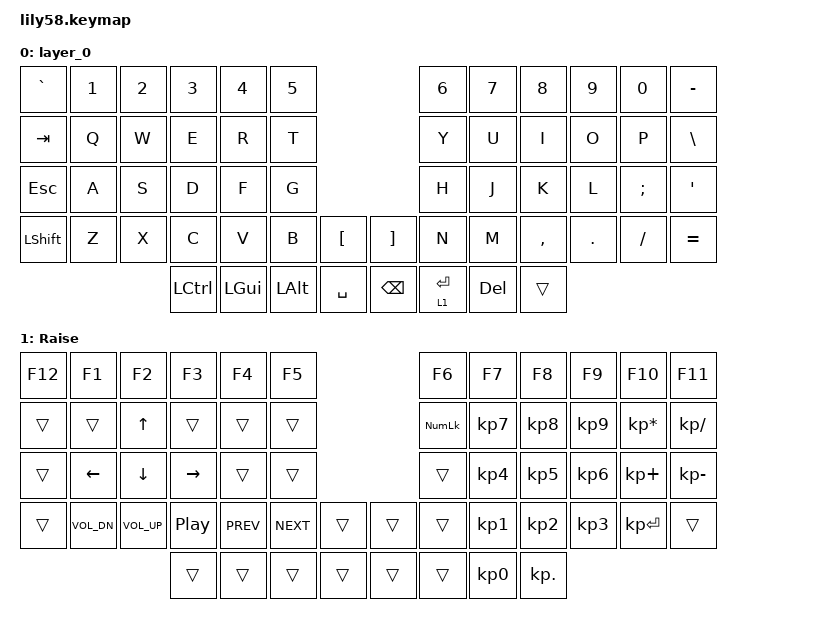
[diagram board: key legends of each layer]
#include <behaviors.dtsi>
#include <dt-bindings/zmk/keys.h>

/ {
    keymap {
        compatible = "zmk,keymap";

        layer_0 {
            bindings = <
&kp GRAVE  &kp N1  &kp N2  &kp N3     &kp N4    &kp N5                                           &kp N6        &kp N7      &kp N8     &kp N9   &kp N0    &kp MINUS
&kp TAB    &kp Q   &kp W   &kp E      &kp R     &kp T                                            &kp Y         &kp U       &kp I      &kp O    &kp P     &kp BSLH
&kp ESC    &kp A   &kp S   &kp D      &kp F     &kp G                                            &kp H         &kp J       &kp K      &kp L    &kp SEMI  &kp SQT
&kp LSHFT  &kp Z   &kp X   &kp C      &kp V     &kp B     &kp LEFT_BRACKET    &kp RIGHT_BRACKET  &kp N         &kp M       &kp COMMA  &kp DOT  &kp FSLH  &kp EQUAL
                           &kp LCTRL  &kp LGUI  &kp LALT  &kp SPACE           &kp BSPC           &lt 1 RETURN  &kp DELETE  &trans
            >;
        };

        Raise {
            bindings = <
&kp F12  &kp F1        &kp F2           &kp F3     &kp F4      &kp F5                        &kp F6          &kp F7           &kp F8      &kp F9     &kp F10          &kp F11
&trans   &trans        &kp UP           &trans     &trans      &trans                        &kp KP_NUMLOCK  &kp KP_N7        &kp KP_N8   &kp KP_N9  &kp KP_ASTERISK  &kp KP_DIVIDE
&trans   &kp LEFT      &kp DOWN         &kp RIGHT  &trans      &trans                        &trans          &kp KP_N4        &kp KP_N5   &kp KP_N6  &kp KP_PLUS      &kp KP_SUBTRACT
&trans   &kp C_VOL_DN  &kp C_VOLUME_UP  &kp C_PP   &kp C_PREV  &kp C_NEXT  &trans    &trans  &trans          &kp KP_NUMBER_1  &kp KP_N2   &kp KP_N3  &kp KP_ENTER     &trans
                                        &trans     &trans      &trans      &trans    &trans  &trans          &kp KP_N0        &kp KP_DOT
            >;
        };
    };
};
